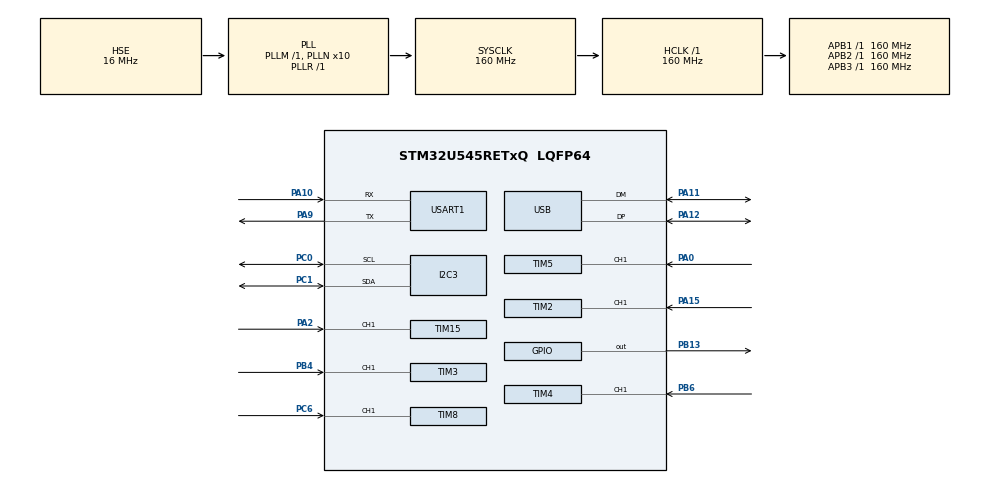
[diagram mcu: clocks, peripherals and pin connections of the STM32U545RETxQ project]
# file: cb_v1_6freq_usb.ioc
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CORTEX_M33_NS.userName=CORTEX_M33
GPDMA1.CIRCULARMODE_GPDMACH0=ENABLE
GPDMA1.CIRCULARMODE_GPDMACH1=ENABLE
GPDMA1.CIRCULARMODE_GPDMACH2=ENABLE
GPDMA1.CIRCULARMODE_GPDMACH3=ENABLE
GPDMA1.CIRCULARMODE_GPDMACH4=ENABLE
GPDMA1.CIRCULARMODE_GPDMACH5=ENABLE
GPDMA1.DESTDATAWIDTH_GPDMACH0=DMA_DEST_DATAWIDTH_HALFWORD
GPDMA1.DESTDATAWIDTH_GPDMACH1=DMA_DEST_DATAWIDTH_HALFWORD
GPDMA1.DESTDATAWIDTH_GPDMACH2=DMA_DEST_DATAWIDTH_HALFWORD
GPDMA1.DESTDATAWIDTH_GPDMACH3=DMA_DEST_DATAWIDTH_HALFWORD
GPDMA1.DESTDATAWIDTH_GPDMACH4=DMA_DEST_DATAWIDTH_HALFWORD
GPDMA1.DESTDATAWIDTH_GPDMACH5=DMA_DEST_DATAWIDTH_HALFWORD
GPDMA1.DESTINC_GPDMACH0=DMA_DINC_INCREMENTED
GPDMA1.DESTINC_GPDMACH1=DMA_DINC_INCREMENTED
GPDMA1.DESTINC_GPDMACH2=DMA_DINC_INCREMENTED
GPDMA1.DESTINC_GPDMACH3=DMA_DINC_INCREMENTED
GPDMA1.DESTINC_GPDMACH4=DMA_DINC_INCREMENTED
GPDMA1.DESTINC_GPDMACH5=DMA_DINC_INCREMENTED
GPDMA1.IPHANDLE_GPDMACH0-SIMPLEREQUEST_GPDMACH0=__NULL
GPDMA1.IPHANDLE_GPDMACH1-SIMPLEREQUEST_GPDMACH1=__NULL
GPDMA1.IPHANDLE_GPDMACH2-SIMPLEREQUEST_GPDMACH2=__NULL
GPDMA1.IPHANDLE_GPDMACH3-SIMPLEREQUEST_GPDMACH3=__NULL
GPDMA1.IPHANDLE_GPDMACH4-SIMPLEREQUEST_GPDMACH4=__NULL
GPDMA1.IPHANDLE_GPDMACH5-SIMPLEREQUEST_GPDMACH5=__NULL
GPDMA1.REQUEST_GPDMACH0=GPDMA1_REQUEST_TIM3_CH1
GPDMA1.REQUEST_GPDMACH1=GPDMA1_REQUEST_TIM4_CH1
GPDMA1.REQUEST_GPDMACH2=GPDMA1_REQUEST_TIM2_CH1
GPDMA1.REQUEST_GPDMACH3=GPDMA1_REQUEST_TIM5_CH1
GPDMA1.REQUEST_GPDMACH4=GPDMA1_REQUEST_TIM8_CH1
GPDMA1.REQUEST_GPDMACH5=GPDMA1_REQUEST_TIM15_CH1
GPDMA1.SRCDATAWIDTH_GPDMACH0=DMA_SRC_DATAWIDTH_HALFWORD
GPDMA1.SRCDATAWIDTH_GPDMACH1=DMA_SRC_DATAWIDTH_HALFWORD
GPDMA1.SRCDATAWIDTH_GPDMACH2=DMA_SRC_DATAWIDTH_HALFWORD
GPDMA1.SRCDATAWIDTH_GPDMACH3=DMA_SRC_DATAWIDTH_HALFWORD
GPDMA1.SRCDATAWIDTH_GPDMACH4=DMA_SRC_DATAWIDTH_HALFWORD
GPDMA1.SRCDATAWIDTH_GPDMACH5=DMA_SRC_DATAWIDTH_HALFWORD
I2C3.Timing=0x30909DEC
Mcu.Family=STM32U5
Mcu.Name=STM32U545RETxQ
Mcu.Package=LQFP64
NVIC.GPDMA1_Channel0_IRQn=true\:0\:0\:false\:false\:true\:false\:true\:true
NVIC.GPDMA1_Channel1_IRQn=true\:0\:0\:false\:false\:true\:false\:true\:true
NVIC.GPDMA1_Channel2_IRQn=true\:0\:0\:false\:false\:true\:false\:true\:true
NVIC.GPDMA1_Channel3_IRQn=true\:0\:0\:false\:false\:true\:false\:true\:true
NVIC.GPDMA1_Channel4_IRQn=true\:0\:0\:false\:false\:true\:false\:true\:true
NVIC.GPDMA1_Channel5_IRQn=true\:0\:0\:false\:false\:true\:false\:true\:true
NVIC.PriorityGroup=NVIC_PRIORITYGROUP_4
NVIC.USB_IRQn=true\:0\:0\:false\:false\:true\:true\:true\:true
PA0.Signal=S_TIM5_CH1
PA10.Mode=Asynchronous
PA10.Signal=USART1_RX
PA11.Mode=Device
PA11.Signal=USB_DM
PA12.Mode=Device
PA12.Signal=USB_DP
PA13\ (JTMS/SWDIO).Mode=Trace_Asynchronous_SW
PA13\ (JTMS/SWDIO).Signal=DEBUG_JTMS-SWDIO
PA14\ (JTCK/SWCLK).Mode=Trace_Asynchronous_SW
PA14\ (JTCK/SWCLK).Signal=DEBUG_JTCK-SWCLK
PA15\ (JTDI).Signal=S_TIM2_CH1
PA2.Signal=S_TIM15_CH1
PA9.Mode=Asynchronous
PA9.Signal=USART1_TX
PB13.PinState=GPIO_PIN_SET
PB13.Signal=GPIO_Output
PB3\ (JTDO/TRACESWO).Mode=Trace_Asynchronous_SW
PB3\ (JTDO/TRACESWO).Signal=DEBUG_JTDO-SWO
PB4\ (NJTRST).Signal=S_TIM3_CH1
PB6.Signal=S_TIM4_CH1
PC0.Mode=I2C
PC0.Signal=I2C3_SCL
PC1.Mode=I2C
PC1.Signal=I2C3_SDA
PC6.Signal=S_TIM8_CH1
PH0-OSC_IN\ (PH0).Mode=HSE-External-Oscillator
PH0-OSC_IN\ (PH0).Signal=RCC_OSC_IN
PH1-OSC_OUT\ (PH1).Mode=HSE-External-Oscillator
PH1-OSC_OUT\ (PH1).Signal=RCC_OSC_OUT
ProjectManager.HeapSize=0x600
ProjectManager.StackSize=0x800
ProjectManager.TargetToolchain=STM32CubeIDE
RCC.ADCFreq_Value=16000000
RCC.AHBFreq_Value=160000000
RCC.APB1Freq_Value=160000000
RCC.APB1TimFreq_Value=160000000
RCC.APB2Freq_Value=160000000
RCC.APB2TimFreq_Value=160000000
RCC.APB3Freq_Value=160000000
RCC.CortexFreq_Value=160000000
RCC.DACCLockSelectionVirtual=RCC_DAC1CLKSOURCE_LSI
RCC.DACCLockSelectionVirtualString=RCC_DAC1CLKSOURCE_LSI
RCC.EPOD_VALUE=16000000
RCC.HCLKFreq_Value=160000000
RCC.HSE_VALUE=16000000
RCC.HSI48_VALUE=48000000
RCC.HSI_VALUE=16000000
RCC.LSE_VALUE=32768
RCC.LSIDIV_VALUE=32000
RCC.MSI_VALUE=4000000
RCC.PLL1R=1
RCC.PLLFRACN=0
RCC.PLLN=10
RCC.PLLSourceVirtual=RCC_PLLSOURCE_HSE
RCC.SYSCLKFreq_VALUE=160000000
RCC.SYSCLKSource=RCC_SYSCLKSOURCE_PLLCLK
RCC.USBFreq_Value=48000000
RCC.VCOOutputFreq_Value=160000000
SH.S_TIM15_CH1.0=TIM15_CH1,TriggerSource_TI1FP1
SH.S_TIM15_CH1.1=TIM15_CH1,Input_Capture1_from_TI1
SH.S_TIM2_CH1.0=TIM2_CH1,Input_Capture1_from_TI1
SH.S_TIM2_CH1.1=TIM2_CH1,TriggerSource_TI1FP1
SH.S_TIM3_CH1.0=TIM3_CH1,Input_Capture1_from_TI1
SH.S_TIM3_CH1.1=TIM3_CH1,TriggerSource_TI1FP1
SH.S_TIM4_CH1.0=TIM4_CH1,TriggerSource_TI1FP1
SH.S_TIM4_CH1.1=TIM4_CH1,Input_Capture1_from_TI1
SH.S_TIM5_CH1.0=TIM5_CH1,TriggerSource_TI1FP1
SH.S_TIM5_CH1.1=TIM5_CH1,Input_Capture1_from_TI1
SH.S_TIM8_CH1.0=TIM8_CH1,TriggerSource_TI1FP1
SH.S_TIM8_CH1.1=TIM8_CH1,Input_Capture1_from_TI1
TIM15.Channel-Input_Capture1_from_TI1=TIM_CHANNEL_1
TIM2.Channel-Input_Capture1_from_TI1=TIM_CHANNEL_1
TIM3.Channel-Input_Capture1_from_TI1=TIM_CHANNEL_1
TIM4.Channel-Input_Capture1_from_TI1=TIM_CHANNEL_1
TIM5.Channel-Input_Capture1_from_TI1=TIM_CHANNEL_1
TIM8.Channel-Input_Capture1_from_TI1=TIM_CHANNEL_1
USART1.VirtualMode-Asynchronous=VM_ASYNC
VP_GPDMA1_VS_GPDMACH0.Mode=SIMPLEREQUEST_GPDMACH0
VP_GPDMA1_VS_GPDMACH1.Mode=SIMPLEREQUEST_GPDMACH1
VP_GPDMA1_VS_GPDMACH2.Mode=SIMPLEREQUEST_GPDMACH2
VP_GPDMA1_VS_GPDMACH3.Mode=SIMPLEREQUEST_GPDMACH3
VP_GPDMA1_VS_GPDMACH4.Mode=SIMPLEREQUEST_GPDMACH4
VP_GPDMA1_VS_GPDMACH5.Mode=SIMPLEREQUEST_GPDMACH5
VP_ICACHE_VS_ICACHE.Mode=DirectMappedCache
VP_LPBAMQUEUE_VS_QUEUE.Mode=QUEUEMODE
VP_LPBAM_VS_SIG1.Mode=SmartRun
VP_LPBAM_VS_SIG4.Mode=LPDMA1
VP_MEMORYMAP_VS_MEMORYMAP.Mode=CurAppReg
VP_PWR_VS_SECSignals.Mode=Security/Privilege
VP_RCC_USB.Mode=CRS SYNC Source USB
VP_TIM15_VS_ClockSourceINT.Mode=Internal
VP_TIM15_VS_ControllerModeReset.Mode=Reset Mode
VP_TIM2_VS_ClockSourceINT.Mode=Internal
VP_TIM2_VS_ControllerModeReset.Mode=Reset Mode
VP_TIM3_VS_ClockSourceINT.Mode=Internal
VP_TIM3_VS_ControllerModeReset.Mode=Reset Mode
VP_TIM4_VS_ClockSourceINT.Mode=Internal
VP_TIM4_VS_ControllerModeReset.Mode=Reset Mode
VP_TIM5_VS_ClockSourceINT.Mode=Internal
VP_TIM5_VS_ControllerModeReset.Mode=Reset Mode
VP_TIM8_VS_ClockSourceINT.Mode=Internal
VP_TIM8_VS_ControllerModeReset.Mode=Reset Mode
board=custom

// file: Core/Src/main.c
/* USER CODE BEGIN Header */
/**
  ******************************************************************************
  * @file           : main.c
  * @brief          : Main program body
  ******************************************************************************
  * @attention
  *
  * Copyright (c) 2025 STMicroelectronics.
  * All rights reserved.
  *
  * This software is licensed under terms that can be found in the LICENSE file
  * in the root directory of this software component.
  * If no LICENSE file comes with this software, it is provided AS-IS.
  *
  ******************************************************************************
  */
/* USER CODE END Header */
#include "main.h"

/* USER CODE BEGIN Includes */
#include<stdio.h>
#include<string.h>
#include "usbd_cdc_if.h"
/* USER CODE END Includes */

I2C_HandleTypeDef hi2c3;

TIM_HandleTypeDef htim2;
TIM_HandleTypeDef htim3;
TIM_HandleTypeDef htim4;
TIM_HandleTypeDef htim5;
TIM_HandleTypeDef htim8;
TIM_HandleTypeDef htim15;
DMA_NodeTypeDef Node_GPDMA1_Channel2;
DMA_QListTypeDef List_GPDMA1_Channel2;
DMA_HandleTypeDef handle_GPDMA1_Channel2;
DMA_NodeTypeDef Node_GPDMA1_Channel0;
DMA_QListTypeDef List_GPDMA1_Channel0;
DMA_HandleTypeDef handle_GPDMA1_Channel0;
DMA_NodeTypeDef Node_GPDMA1_Channel1;
DMA_QListTypeDef List_GPDMA1_Channel1;
DMA_HandleTypeDef handle_GPDMA1_Channel1;
DMA_NodeTypeDef Node_GPDMA1_Channel3;
DMA_QListTypeDef List_GPDMA1_Channel3;
DMA_HandleTypeDef handle_GPDMA1_Channel3;
DMA_NodeTypeDef Node_GPDMA1_Channel4;
DMA_QListTypeDef List_GPDMA1_Channel4;
DMA_HandleTypeDef handle_GPDMA1_Channel4;
DMA_NodeTypeDef Node_GPDMA1_Channel5;
DMA_QListTypeDef List_GPDMA1_Channel5;
DMA_HandleTypeDef handle_GPDMA1_Channel5;

UART_HandleTypeDef huart1;

PCD_HandleTypeDef hpcd_USB_DRD_FS;

/* USER CODE BEGIN PV */
//USB PV
extern USBD_ClassTypeDef  USBD_CDC;
USBD_HandleTypeDef hUsbDeviceFS;
uint8_t CDC_EpAdd_Inst[3] = {CDC_IN_EP, CDC_OUT_EP, CDC_CMD_EP};
uint8_t CDC_InstID = 0;

//Capacitance measurement PV
uint16_t Channels[6][8] = {0};  // 2D array to hold all channel data
uint8_t txBuffer[15];           // Buffer to hold the data to be sent

double offsets[] = {
    -1.5,  // Channel 0 -> Timer 2
    -5.71,  // Channel 1 -> Timer 3
    -6.83,  // Channel 2 -> Timer 4
    -6.42,  // Channel 3 -> Timer 5
    -6.42,  // Channel 4 -> Timer 8
    0.00    // Channel 5 -> Timer 15 (already zero)
};

/* USER CODE END PV */

void SystemClock_Config(void);
static void MX_GPIO_Init(void);
static void MX_GPDMA1_Init(void);
static void MX_TIM3_Init(void);
static void MX_TIM4_Init(void);
static void MX_USART1_UART_Init(void);
static void MX_I2C3_Init(void);
static void MX_TIM2_Init(void);
static void MX_TIM5_Init(void);
static void MX_TIM8_Init(void);
static void MX_TIM15_Init(void);
static void MX_ICACHE_Init(void);

/* USER CODE BEGIN 0 */
void sendCapacitanceData() {
    // Access the first value of each channel
    uint16_t values[6] = {
        Channels[0][0],  // First value of Channel_0
        Channels[1][0],  // First value of Channel_1
        Channels[2][0],  // First value of Channel_2
        Channels[3][0],  // First value of Channel_3
        Channels[4][0],  // First value of Channel_4
        Channels[5][0]   // First value of Channel_5
    };

    // Debug: Print the values before sending
    printf("Sending: %d, %d, %d, %d, %d, %d\n",
           values[0], values[1], values[2],
           values[3], values[4], values[5]);

    txBuffer[0] = 0xAA;  // Start byte

    // Copy uint16_t values into the buffer as uint8_t bytes
    for (int i = 0; i < 6; i++) {
        txBuffer[1 + 2 * i] = (values[i] >> 8) & 0xFF;  // High byte
        txBuffer[2 + 2 * i] = values[i] & 0xFF;         // Low byte
    }

    txBuffer[13] = 0x55;  // End byte
    txBuffer[14] = 0x00;  // Optional: Checksum (e.g., XOR of all data bytes)

    // Send the data over UART
    HAL_UART_Transmit(&huart1, txBuffer, sizeof(txBuffer), HAL_MAX_DELAY);
}

void process_all_channels(uint16_t *channels[], const char *channel_names[], int num_channels) {
#define TIMER_CLK_HZ 160000000
    char TxMessageBuffer[1024];   // large buffer for all channels
    int len = 0;

    for (int i = 0; i < num_channels; i++) {
        if (channels[i][0] == 0) {
            len += snprintf(TxMessageBuffer + len, sizeof(TxMessageBuffer) - len,
                            "%s: Frequency = 0.00 Hz , Count = 0 , Capacitance = 0pF\r\n",
                            channel_names[i]);
        } else {
            float period_seconds = channels[i][0] * (1.0 / TIMER_CLK_HZ);
            float frequency = (1.0 / period_seconds);

            // Raw capacitance
            double before_offset = ((1 / (0.64 * frequency * 261000)) - 60.60E-12) * 1e12;

            // Offset correction
            double after_offset = before_offset - offsets[i];

            if (after_offset < 0.30) after_offset = 0.0;

            len += snprintf(TxMessageBuffer + len, sizeof(TxMessageBuffer) - len,
                            "%s: Before = %.2f pF, Offset = %.2f pF, After = %.2f pF\r\n",
                           channel_names[i], before_offset, offsets[i], after_offset);
        }

        memset(channels[i], 0, sizeof(uint16_t) * 8);
    }

    // Add blank line between groups
    len += snprintf(TxMessageBuffer + len, sizeof(TxMessageBuffer) - len, "\r\n");

    // Send all at once
    TEMPLATE_Transmit((uint8_t *)TxMessageBuffer, len);
}

/* USER CODE END 0 */

int main(void)
{

  /* MCU Configuration--------------------------------------------------------*/

  /* Reset of all peripherals, Initializes the Flash interface and the Systick. */
  HAL_Init();

  /* Configure the system clock */
  SystemClock_Config();

  /* Initialize all configured peripherals */
  MX_GPIO_Init();
  MX_GPDMA1_Init();
  MX_TIM3_Init();
  MX_TIM4_Init();
  MX_USART1_UART_Init();
  MX_I2C3_Init();
  MX_TIM2_Init();
  MX_TIM5_Init();
  MX_TIM8_Init();
  MX_TIM15_Init();
  MX_ICACHE_Init();
  /* USER CODE BEGIN 2 */

  //Wait for USB
  hpcd_USB_DRD_FS.pData = &hUsbDeviceFS;

  if(USBD_Init(&hUsbDeviceFS, &CDC_Desc, 0) != USBD_OK)
        Error_Handler();

  if (USBD_RegisterClass(&hUsbDeviceFS, &USBD_CDC) != USBD_OK)
        Error_Handler();

  if(USBD_CDC_RegisterInterface(&hUsbDeviceFS, &USBD_CDC_Template_fops) != USBD_OK)
        Error_Handler();

  if(USBD_Start(&hUsbDeviceFS) != USBD_OK)
        Error_Handler();

  while(hUsbDeviceFS.pClassData == NULL);
  //HAL_Delay(100);
  //USB setup done

#define TIMER_CLK_HZ 160000000

uint16_t Channel_0[8] = {0};
uint16_t Channel_1[8] = {0};
uint16_t Channel_2[8] = {0};
uint16_t Channel_3[8] = {0};
uint16_t Channel_4[8] = {0};
uint16_t Channel_5[8] = {0};

uint16_t* channels[] = {Channel_0, Channel_1, Channel_2, Channel_3, Channel_4, Channel_5};
const char* channel_names[] = {"Channel_0", "Channel_1", "Channel_2", "Channel_3", "Channel_4", "Channel_5"}; // Can be changed to timer name

if (HAL_TIM_Base_Start(&htim2) != HAL_OK){

	  Error_Handler();
}

if (HAL_TIM_Base_Start(&htim3) != HAL_OK){

	  Error_Handler();
}

if (HAL_TIM_Base_Start(&htim4) != HAL_OK){

	  Error_Handler();
}

if (HAL_TIM_Base_Start(&htim5) != HAL_OK){

	  Error_Handler();
}

if (HAL_TIM_Base_Start(&htim8) != HAL_OK){

	  Error_Handler();
}

if (HAL_TIM_Base_Start(&htim15) != HAL_OK){

	  Error_Handler();
}

HAL_TIM_IC_Start_DMA(&htim2, TIM_CHANNEL_1,(uint32_t*)&Channel_0, 8);
HAL_TIM_IC_Start_DMA(&htim3, TIM_CHANNEL_1,(uint32_t*)&Channel_1, 8);
HAL_TIM_IC_Start_DMA(&htim4, TIM_CHANNEL_1,(uint32_t*)&Channel_2, 8);
HAL_TIM_IC_Start_DMA(&htim5, TIM_CHANNEL_1,(uint32_t*)&Channel_3, 8);
HAL_TIM_IC_Start_DMA(&htim8, TIM_CHANNEL_1,(uint32_t*)&Channel_4, 8);
HAL_TIM_IC_Start_DMA(&htim15, TIM_CHANNEL_1,(uint32_t*)&Channel_5, 8);

  /* USER CODE END 2 */

  /* Infinite loop */
  while (1)
  {

    /* USER CODE BEGIN 3 */
	process_all_channels(channels, channel_names, 6);
	HAL_Delay(500);
  }
  /* USER CODE END 3 */
}

void SystemClock_Config(void)
{
  RCC_OscInitTypeDef RCC_OscInitStruct = {0};
  RCC_ClkInitTypeDef RCC_ClkInitStruct = {0};
  RCC_CRSInitTypeDef RCC_CRSInitStruct = {0};

  /** Configure the main internal regulator output voltage
  */
  if (HAL_PWREx_ControlVoltageScaling(PWR_REGULATOR_VOLTAGE_SCALE1) != HAL_OK)
  {
    Error_Handler();
  }

  /** Initializes the CPU, AHB and APB buses clocks
  */
  RCC_OscInitStruct.OscillatorType = RCC_OSCILLATORTYPE_HSI48|RCC_OSCILLATORTYPE_HSE;
  RCC_OscInitStruct.HSEState = RCC_HSE_ON;
  RCC_OscInitStruct.HSI48State = RCC_HSI48_ON;
  RCC_OscInitStruct.PLL.PLLState = RCC_PLL_ON;
  RCC_OscInitStruct.PLL.PLLSource = RCC_PLLSOURCE_HSE;
  RCC_OscInitStruct.PLL.PLLMBOOST = RCC_PLLMBOOST_DIV1;
  RCC_OscInitStruct.PLL.PLLM = 1;
  RCC_OscInitStruct.PLL.PLLN = 10;
  RCC_OscInitStruct.PLL.PLLP = 2;
  RCC_OscInitStruct.PLL.PLLQ = 2;
  RCC_OscInitStruct.PLL.PLLR = 1;
  RCC_OscInitStruct.PLL.PLLRGE = RCC_PLLVCIRANGE_1;
  RCC_OscInitStruct.PLL.PLLFRACN = 0;
  if (HAL_RCC_OscConfig(&RCC_OscInitStruct) != HAL_OK)
  {
    Error_Handler();
  }

  /** Initializes the CPU, AHB and APB buses clocks
  */
  RCC_ClkInitStruct.ClockType = RCC_CLOCKTYPE_HCLK|RCC_CLOCKTYPE_SYSCLK
                              |RCC_CLOCKTYPE_PCLK1|RCC_CLOCKTYPE_PCLK2
                              |RCC_CLOCKTYPE_PCLK3;
  RCC_ClkInitStruct.SYSCLKSource = RCC_SYSCLKSOURCE_PLLCLK;
  RCC_ClkInitStruct.AHBCLKDivider = RCC_SYSCLK_DIV1;
  RCC_ClkInitStruct.APB1CLKDivider = RCC_HCLK_DIV1;
  RCC_ClkInitStruct.APB2CLKDivider = RCC_HCLK_DIV1;
  RCC_ClkInitStruct.APB3CLKDivider = RCC_HCLK_DIV1;

  if (HAL_RCC_ClockConfig(&RCC_ClkInitStruct, FLASH_LATENCY_4) != HAL_OK)
  {
    Error_Handler();
  }

  /** Enable the SYSCFG APB clock
  */
  __HAL_RCC_CRS_CLK_ENABLE();

  /** Configures CRS
  */
  RCC_CRSInitStruct.Prescaler = RCC_CRS_SYNC_DIV1;
  RCC_CRSInitStruct.Source = RCC_CRS_SYNC_SOURCE_USB;
  RCC_CRSInitStruct.Polarity = RCC_CRS_SYNC_POLARITY_RISING;
  RCC_CRSInitStruct.ReloadValue = __HAL_RCC_CRS_RELOADVALUE_CALCULATE(48000000,1000);
  RCC_CRSInitStruct.ErrorLimitValue = 34;
  RCC_CRSInitStruct.HSI48CalibrationValue = 32;

  HAL_RCCEx_CRSConfig(&RCC_CRSInitStruct);
}

static void MX_GPDMA1_Init(void)
{

  /* Peripheral clock enable */
  __HAL_RCC_GPDMA1_CLK_ENABLE();

  /* GPDMA1 interrupt Init */
    HAL_NVIC_SetPriority(GPDMA1_Channel0_IRQn, 0, 0);
    HAL_NVIC_EnableIRQ(GPDMA1_Channel0_IRQn);
    HAL_NVIC_SetPriority(GPDMA1_Channel1_IRQn, 0, 0);
    HAL_NVIC_EnableIRQ(GPDMA1_Channel1_IRQn);
    HAL_NVIC_SetPriority(GPDMA1_Channel2_IRQn, 0, 0);
    HAL_NVIC_EnableIRQ(GPDMA1_Channel2_IRQn);
    HAL_NVIC_SetPriority(GPDMA1_Channel3_IRQn, 0, 0);
    HAL_NVIC_EnableIRQ(GPDMA1_Channel3_IRQn);
    HAL_NVIC_SetPriority(GPDMA1_Channel4_IRQn, 0, 0);
    HAL_NVIC_EnableIRQ(GPDMA1_Channel4_IRQn);
    HAL_NVIC_SetPriority(GPDMA1_Channel5_IRQn, 0, 0);
    HAL_NVIC_EnableIRQ(GPDMA1_Channel5_IRQn);

}

static void MX_I2C3_Init(void)
{

  hi2c3.Instance = I2C3;
  hi2c3.Init.Timing = 0x30909DEC;
  hi2c3.Init.OwnAddress1 = 0;
  hi2c3.Init.AddressingMode = I2C_ADDRESSINGMODE_7BIT;
  hi2c3.Init.DualAddressMode = I2C_DUALADDRESS_DISABLE;
  hi2c3.Init.OwnAddress2 = 0;
  hi2c3.Init.OwnAddress2Masks = I2C_OA2_NOMASK;
  hi2c3.Init.GeneralCallMode = I2C_GENERALCALL_DISABLE;
  hi2c3.Init.NoStretchMode = I2C_NOSTRETCH_DISABLE;
  if (HAL_I2C_Init(&hi2c3) != HAL_OK)
  {
    Error_Handler();
  }

  /** Configure Analogue filter
  */
  if (HAL_I2CEx_ConfigAnalogFilter(&hi2c3, I2C_ANALOGFILTER_ENABLE) != HAL_OK)
  {
    Error_Handler();
  }

  /** Configure Digital filter
  */
  if (HAL_I2CEx_ConfigDigitalFilter(&hi2c3, 0) != HAL_OK)
  {
    Error_Handler();
  }

}

static void MX_ICACHE_Init(void)
{

  /** Enable instruction cache in 1-way (direct mapped cache)
  */
  if (HAL_ICACHE_ConfigAssociativityMode(ICACHE_1WAY) != HAL_OK)
  {
    Error_Handler();
  }
  if (HAL_ICACHE_Enable() != HAL_OK)
  {
    Error_Handler();
  }

}

static void MX_TIM2_Init(void)
{

  TIM_ClockConfigTypeDef sClockSourceConfig = {0};
  TIM_SlaveConfigTypeDef sSlaveConfig = {0};
  TIM_MasterConfigTypeDef sMasterConfig = {0};
  TIM_IC_InitTypeDef sConfigIC = {0};

  htim2.Instance = TIM2;
  htim2.Init.Prescaler = 0;
  htim2.Init.CounterMode = TIM_COUNTERMODE_UP;
  htim2.Init.Period = 4294967295;
  htim2.Init.ClockDivision = TIM_CLOCKDIVISION_DIV1;
  htim2.Init.AutoReloadPreload = TIM_AUTORELOAD_PRELOAD_DISABLE;
  if (HAL_TIM_Base_Init(&htim2) != HAL_OK)
  {
    Error_Handler();
  }
  sClockSourceConfig.ClockSource = TIM_CLOCKSOURCE_INTERNAL;
  if (HAL_TIM_ConfigClockSource(&htim2, &sClockSourceConfig) != HAL_OK)
  {
    Error_Handler();
  }
  if (HAL_TIM_IC_Init(&htim2) != HAL_OK)
  {
    Error_Handler();
  }
  sSlaveConfig.SlaveMode = TIM_SLAVEMODE_RESET;
  sSlaveConfig.InputTrigger = TIM_TS_TI1FP1;
  sSlaveConfig.TriggerPolarity = TIM_INPUTCHANNELPOLARITY_RISING;
  sSlaveConfig.TriggerFilter = 0;
  if (HAL_TIM_SlaveConfigSynchro(&htim2, &sSlaveConfig) != HAL_OK)
  {
    Error_Handler();
  }
  sMasterConfig.MasterOutputTrigger = TIM_TRGO_RESET;
  sMasterConfig.MasterSlaveMode = TIM_MASTERSLAVEMODE_DISABLE;
  if (HAL_TIMEx_MasterConfigSynchronization(&htim2, &sMasterConfig) != HAL_OK)
  {
    Error_Handler();
  }
  sConfigIC.ICPolarity = TIM_INPUTCHANNELPOLARITY_RISING;
  sConfigIC.ICSelection = TIM_ICSELECTION_DIRECTTI;
  sConfigIC.ICPrescaler = TIM_ICPSC_DIV1;
  sConfigIC.ICFilter = 0;
  if (HAL_TIM_IC_ConfigChannel(&htim2, &sConfigIC, TIM_CHANNEL_1) != HAL_OK)
  {
    Error_Handler();
  }

}

static void MX_TIM3_Init(void)
{

  TIM_ClockConfigTypeDef sClockSourceConfig = {0};
  TIM_SlaveConfigTypeDef sSlaveConfig = {0};
  TIM_MasterConfigTypeDef sMasterConfig = {0};
  TIM_IC_InitTypeDef sConfigIC = {0};

  htim3.Instance = TIM3;
  htim3.Init.Prescaler = 0;
  htim3.Init.CounterMode = TIM_COUNTERMODE_UP;
  htim3.Init.Period = 4294967295;
  htim3.Init.ClockDivision = TIM_CLOCKDIVISION_DIV1;
  htim3.Init.AutoReloadPreload = TIM_AUTORELOAD_PRELOAD_DISABLE;
  if (HAL_TIM_Base_Init(&htim3) != HAL_OK)
  {
    Error_Handler();
  }
  sClockSourceConfig.ClockSource = TIM_CLOCKSOURCE_INTERNAL;
  if (HAL_TIM_ConfigClockSource(&htim3, &sClockSourceConfig) != HAL_OK)
  {
    Error_Handler();
  }
  if (HAL_TIM_IC_Init(&htim3) != HAL_OK)
  {
    Error_Handler();
  }
  sSlaveConfig.SlaveMode = TIM_SLAVEMODE_RESET;
  sSlaveConfig.InputTrigger = TIM_TS_TI1FP1;
  sSlaveConfig.TriggerPolarity = TIM_INPUTCHANNELPOLARITY_RISING;
  sSlaveConfig.TriggerFilter = 0;
  if (HAL_TIM_SlaveConfigSynchro(&htim3, &sSlaveConfig) != HAL_OK)
  {
    Error_Handler();
  }
  sMasterConfig.MasterOutputTrigger = TIM_TRGO_RESET;
  sMasterConfig.MasterSlaveMode = TIM_MASTERSLAVEMODE_DISABLE;
  if (HAL_TIMEx_MasterConfigSynchronization(&htim3, &sMasterConfig) != HAL_OK)
  {
    Error_Handler();
  }
  sConfigIC.ICPolarity = TIM_INPUTCHANNELPOLARITY_RISING;
  sConfigIC.ICSelection = TIM_ICSELECTION_DIRECTTI;
  sConfigIC.ICPrescaler = TIM_ICPSC_DIV1;
  sConfigIC.ICFilter = 0;
  if (HAL_TIM_IC_ConfigChannel(&htim3, &sConfigIC, TIM_CHANNEL_1) != HAL_OK)
  {
    Error_Handler();
  }

}

static void MX_TIM4_Init(void)
{

  TIM_ClockConfigTypeDef sClockSourceConfig = {0};
  TIM_SlaveConfigTypeDef sSlaveConfig = {0};
  TIM_MasterConfigTypeDef sMasterConfig = {0};
  TIM_IC_InitTypeDef sConfigIC = {0};

  htim4.Instance = TIM4;
  htim4.Init.Prescaler = 0;
  htim4.Init.CounterMode = TIM_COUNTERMODE_UP;
  htim4.Init.Period = 4294967295;
  htim4.Init.ClockDivision = TIM_CLOCKDIVISION_DIV1;
  htim4.Init.AutoReloadPreload = TIM_AUTORELOAD_PRELOAD_DISABLE;
  if (HAL_TIM_Base_Init(&htim4) != HAL_OK)
  {
    Error_Handler();
  }
  sClockSourceConfig.ClockSource = TIM_CLOCKSOURCE_INTERNAL;
  if (HAL_TIM_ConfigClockSource(&htim4, &sClockSourceConfig) != HAL_OK)
  {
    Error_Handler();
  }
  if (HAL_TIM_IC_Init(&htim4) != HAL_OK)
  {
    Error_Handler();
  }
  sSlaveConfig.SlaveMode = TIM_SLAVEMODE_RESET;
  sSlaveConfig.InputTrigger = TIM_TS_TI1FP1;
  sSlaveConfig.TriggerPolarity = TIM_INPUTCHANNELPOLARITY_RISING;
  sSlaveConfig.TriggerFilter = 0;
  if (HAL_TIM_SlaveConfigSynchro(&htim4, &sSlaveConfig) != HAL_OK)
  {
    Error_Handler();
  }
  sMasterConfig.MasterOutputTrigger = TIM_TRGO_RESET;
  sMasterConfig.MasterSlaveMode = TIM_MASTERSLAVEMODE_DISABLE;
  if (HAL_TIMEx_MasterConfigSynchronization(&htim4, &sMasterConfig) != HAL_OK)
  {
    Error_Handler();
  }
  sConfigIC.ICPolarity = TIM_INPUTCHANNELPOLARITY_RISING;
  sConfigIC.ICSelection = TIM_ICSELECTION_DIRECTTI;
  sConfigIC.ICPrescaler = TIM_ICPSC_DIV1;
  sConfigIC.ICFilter = 0;
  if (HAL_TIM_IC_ConfigChannel(&htim4, &sConfigIC, TIM_CHANNEL_1) != HAL_OK)
  {
    Error_Handler();
  }

}

static void MX_TIM5_Init(void)
{

  TIM_ClockConfigTypeDef sClockSourceConfig = {0};
  TIM_SlaveConfigTypeDef sSlaveConfig = {0};
  TIM_MasterConfigTypeDef sMasterConfig = {0};
  TIM_IC_InitTypeDef sConfigIC = {0};

  htim5.Instance = TIM5;
  htim5.Init.Prescaler = 0;
  htim5.Init.CounterMode = TIM_COUNTERMODE_UP;
  htim5.Init.Period = 4294967295;
  htim5.Init.ClockDivision = TIM_CLOCKDIVISION_DIV1;
  htim5.Init.AutoReloadPreload = TIM_AUTORELOAD_PRELOAD_DISABLE;
  if (HAL_TIM_Base_Init(&htim5) != HAL_OK)
  {
    Error_Handler();
  }
  sClockSourceConfig.ClockSource = TIM_CLOCKSOURCE_INTERNAL;
  if (HAL_TIM_ConfigClockSource(&htim5, &sClockSourceConfig) != HAL_OK)
  {
    Error_Handler();
  }
  if (HAL_TIM_IC_Init(&htim5) != HAL_OK)
  {
    Error_Handler();
  }
  sSlaveConfig.SlaveMode = TIM_SLAVEMODE_RESET;
  sSlaveConfig.InputTrigger = TIM_TS_TI1FP1;
  sSlaveConfig.TriggerPolarity = TIM_INPUTCHANNELPOLARITY_RISING;
  sSlaveConfig.TriggerFilter = 0;
  if (HAL_TIM_SlaveConfigSynchro(&htim5, &sSlaveConfig) != HAL_OK)
  {
    Error_Handler();
  }
  sMasterConfig.MasterOutputTrigger = TIM_TRGO_RESET;
  sMasterConfig.MasterSlaveMode = TIM_MASTERSLAVEMODE_DISABLE;
  if (HAL_TIMEx_MasterConfigSynchronization(&htim5, &sMasterConfig) != HAL_OK)
  {
    Error_Handler();
  }
  sConfigIC.ICPolarity = TIM_INPUTCHANNELPOLARITY_RISING;
  sConfigIC.ICSelection = TIM_ICSELECTION_DIRECTTI;
  sConfigIC.ICPrescaler = TIM_ICPSC_DIV1;
  sConfigIC.ICFilter = 0;
  if (HAL_TIM_IC_ConfigChannel(&htim5, &sConfigIC, TIM_CHANNEL_1) != HAL_OK)
  {
    Error_Handler();
  }

}

static void MX_TIM8_Init(void)
{

  TIM_ClockConfigTypeDef sClockSourceConfig = {0};
  TIM_SlaveConfigTypeDef sSlaveConfig = {0};
  TIM_MasterConfigTypeDef sMasterConfig = {0};
  TIM_IC_InitTypeDef sConfigIC = {0};

  htim8.Instance = TIM8;
  htim8.Init.Prescaler = 0;
  htim8.Init.CounterMode = TIM_COUNTERMODE_UP;
  htim8.Init.Period = 65535;
  htim8.Init.ClockDivision = TIM_CLOCKDIVISION_DIV1;
  htim8.Init.RepetitionCounter = 0;
  htim8.Init.AutoReloadPreload = TIM_AUTORELOAD_PRELOAD_DISABLE;
  if (HAL_TIM_Base_Init(&htim8) != HAL_OK)
  {
    Error_Handler();
  }
  sClockSourceConfig.ClockSource = TIM_CLOCKSOURCE_INTERNAL;
  if (HAL_TIM_ConfigClockSource(&htim8, &sClockSourceConfig) != HAL_OK)
  {
    Error_Handler();
  }
  if (HAL_TIM_IC_Init(&htim8) != HAL_OK)
  {
    Error_Handler();
  }
  sSlaveConfig.SlaveMode = TIM_SLAVEMODE_RESET;
  sSlaveConfig.InputTrigger = TIM_TS_TI1FP1;
  sSlaveConfig.TriggerPolarity = TIM_INPUTCHANNELPOLARITY_RISING;
  sSlaveConfig.TriggerFilter = 0;
  if (HAL_TIM_SlaveConfigSynchro(&htim8, &sSlaveConfig) != HAL_OK)
  {
    Error_Handler();
  }
  sMasterConfig.MasterOutputTrigger = TIM_TRGO_RESET;
  sMasterConfig.MasterOutputTrigger2 = TIM_TRGO2_RESET;
  sMasterConfig.MasterSlaveMode = TIM_MASTERSLAVEMODE_DISABLE;
  if (HAL_TIMEx_MasterConfigSynchronization(&htim8, &sMasterConfig) != HAL_OK)
  {
    Error_Handler();
  }
  sConfigIC.ICPolarity = TIM_INPUTCHANNELPOLARITY_RISING;
  sConfigIC.ICSelection = TIM_ICSELECTION_DIRECTTI;
  sConfigIC.ICPrescaler = TIM_ICPSC_DIV1;
  sConfigIC.ICFilter = 0;
  if (HAL_TIM_IC_ConfigChannel(&htim8, &sConfigIC, TIM_CHANNEL_1) != HAL_OK)
  {
    Error_Handler();
  }

}

static void MX_TIM15_Init(void)
{

  TIM_ClockConfigTypeDef sClockSourceConfig = {0};
  TIM_SlaveConfigTypeDef sSlaveConfig = {0};
  TIM_MasterConfigTypeDef sMasterConfig = {0};
  TIM_IC_InitTypeDef sConfigIC = {0};

  htim15.Instance = TIM15;
  htim15.Init.Prescaler = 0;
  htim15.Init.CounterMode = TIM_COUNTERMODE_UP;
  htim15.Init.Period = 65535;
  htim15.Init.ClockDivision = TIM_CLOCKDIVISION_DIV1;
  htim15.Init.RepetitionCounter = 0;
  htim15.Init.AutoReloadPreload = TIM_AUTORELOAD_PRELOAD_DISABLE;
  if (HAL_TIM_Base_Init(&htim15) != HAL_OK)
  {
    Error_Handler();
  }
  sClockSourceConfig.ClockSource = TIM_CLOCKSOURCE_INTERNAL;
  if (HAL_TIM_ConfigClockSource(&htim15, &sClockSourceConfig) != HAL_OK)
  {
    Error_Handler();
  }
  if (HAL_TIM_IC_Init(&htim15) != HAL_OK)
  {
    Error_Handler();
  }
  sSlaveConfig.SlaveMode = TIM_SLAVEMODE_RESET;
  sSlaveConfig.InputTrigger = TIM_TS_TI1FP1;
  sSlaveConfig.TriggerPolarity = TIM_INPUTCHANNELPOLARITY_RISING;
  sSlaveConfig.TriggerFilter = 0;
  if (HAL_TIM_SlaveConfigSynchro(&htim15, &sSlaveConfig) != HAL_OK)
  {
    Error_Handler();
  }
  sMasterConfig.MasterOutputTrigger = TIM_TRGO_RESET;
  sMasterConfig.MasterSlaveMode = TIM_MASTERSLAVEMODE_DISABLE;
  if (HAL_TIMEx_MasterConfigSynchronization(&htim15, &sMasterConfig) != HAL_OK)
  {
    Error_Handler();
  }
  sConfigIC.ICPolarity = TIM_INPUTCHANNELPOLARITY_RISING;
  sConfigIC.ICSelection = TIM_ICSELECTION_DIRECTTI;
  sConfigIC.ICPrescaler = TIM_ICPSC_DIV1;
  sConfigIC.ICFilter = 0;
  if (HAL_TIM_IC_ConfigChannel(&htim15, &sConfigIC, TIM_CHANNEL_1) != HAL_OK)
  {
    Error_Handler();
  }

}

static void MX_USART1_UART_Init(void)
{

  huart1.Instance = USART1;
  huart1.Init.BaudRate = 115200;
  huart1.Init.WordLength = UART_WORDLENGTH_8B;
  huart1.Init.StopBits = UART_STOPBITS_1;
  huart1.Init.Parity = UART_PARITY_NONE;
  huart1.Init.Mode = UART_MODE_TX_RX;
  huart1.Init.HwFlowCtl = UART_HWCONTROL_NONE;
  huart1.Init.OverSampling = UART_OVERSAMPLING_16;
  huart1.Init.OneBitSampling = UART_ONE_BIT_SAMPLE_DISABLE;
  huart1.Init.ClockPrescaler = UART_PRESCALER_DIV1;
  huart1.AdvancedInit.AdvFeatureInit = UART_ADVFEATURE_NO_INIT;
  if (HAL_UART_Init(&huart1) != HAL_OK)
  {
    Error_Handler();
  }
  if (HAL_UARTEx_SetTxFifoThreshold(&huart1, UART_TXFIFO_THRESHOLD_1_8) != HAL_OK)
  {
    Error_Handler();
  }
  if (HAL_UARTEx_SetRxFifoThreshold(&huart1, UART_RXFIFO_THRESHOLD_1_8) != HAL_OK)
  {
    Error_Handler();
  }
  if (HAL_UARTEx_DisableFifoMode(&huart1) != HAL_OK)
  {
    Error_Handler();
  }

}

void MX_USB_DRD_FS_PCD_Init(void)
{

  hpcd_USB_DRD_FS.Instance = USB_DRD_FS;
  hpcd_USB_DRD_FS.Init.dev_endpoints = 8;
  hpcd_USB_DRD_FS.Init.speed = PCD_SPEED_FULL;
  hpcd_USB_DRD_FS.Init.phy_itface = PCD_PHY_EMBEDDED;
  hpcd_USB_DRD_FS.Init.Sof_enable = DISABLE;
  hpcd_USB_DRD_FS.Init.low_power_enable = DISABLE;
  hpcd_USB_DRD_FS.Init.lpm_enable = DISABLE;
  hpcd_USB_DRD_FS.Init.battery_charging_enable = DISABLE;
  hpcd_USB_DRD_FS.Init.vbus_sensing_enable = DISABLE;
  hpcd_USB_DRD_FS.Init.bulk_doublebuffer_enable = DISABLE;
  hpcd_USB_DRD_FS.Init.iso_singlebuffer_enable = DISABLE;
  if (HAL_PCD_Init(&hpcd_USB_DRD_FS) != HAL_OK)
  {
    Error_Handler();
  }

}

static void MX_GPIO_Init(void)
{
  GPIO_InitTypeDef GPIO_InitStruct = {0};

  /* GPIO Ports Clock Enable */
  __HAL_RCC_GPIOH_CLK_ENABLE();
  __HAL_RCC_GPIOC_CLK_ENABLE();
  __HAL_RCC_GPIOA_CLK_ENABLE();
  __HAL_RCC_GPIOB_CLK_ENABLE();

  /*Configure GPIO pin Output Level */
  HAL_GPIO_WritePin(GPIOB, GPIO_PIN_13, GPIO_PIN_SET);

  /*Configure GPIO pin : PB13 */
  GPIO_InitStruct.Pin = GPIO_PIN_13;
  GPIO_InitStruct.Mode = GPIO_MODE_OUTPUT_PP;
  GPIO_InitStruct.Pull = GPIO_NOPULL;
  GPIO_InitStruct.Speed = GPIO_SPEED_FREQ_LOW;
  HAL_GPIO_Init(GPIOB, &GPIO_InitStruct);

}

/* USER CODE BEGIN 4 */
int _write(int file, char *ptr, int len)
{
  (void)file;
  int DataIdx;

  for (DataIdx = 0; DataIdx < len; DataIdx++)
  {

    ITM_SendChar(*ptr++);

  }
  return len;
}

/* USER CODE END 4 */

void Error_Handler(void)
{
  /* USER CODE BEGIN Error_Handler_Debug */
  /* User can add his own implementation to report the HAL error return state */
  __disable_irq();
  while (1)
  {
	    HAL_GPIO_TogglePin (GPIOB, GPIO_PIN_13);
	    HAL_Delay (200);
  }
  /* USER CODE END Error_Handler_Debug */
}
